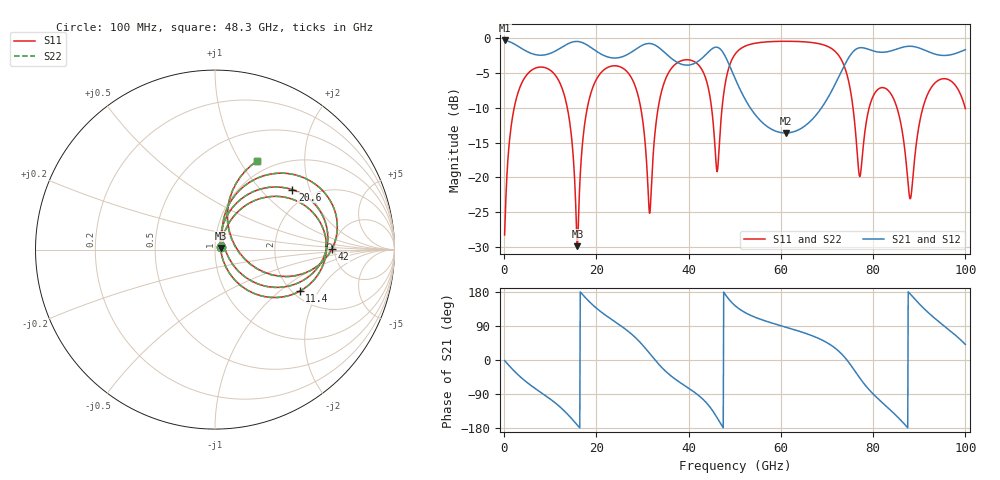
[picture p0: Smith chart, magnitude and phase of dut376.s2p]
! Touchstone file exported from HFSS 2026.1.0
!  File:  C:/ffzhzh/LocalFiles/Ansys_Project_Files/temp_train_TSV_RDL_376_1783714571_45496.aedt
!  Generated:  04:27:12 AM Jul 11, 2026
!  Design:  TSV_RDL
!  Project:  temp_train_TSV_RDL_376_1783714571_45496
! Variables:
!  h_bsmrdl = 3.07um
!  h_ox = 20um
!  h_rdl = 5um
!  h_sub = 61.48um
!  h_tmrdl = 2.36um
!  h_tsv = 61.48um
!  h_via = 3um
!  l_bsmrdl = 197.47um
!  l_sub = 3582.94um
!  l_tmrdl = 624.81um
!  m_sub = 200um
!  pitch = 48.48um
!  r_tsv = 11.68um
!  s_tmrdl = 10um
!  w_bsmrdl = 18.52um
!  w_sub = 500um
!  w_tmrdl = 11.91um
!  x_tsv_center1 = 630.765um
!  x_tsv_center2 = 846.755um
!  x_tsv_center3 = 1483.475um
!  x_tsv_center4 = 1699.465um
!  x_tsv_center5 = 2336.185um
!  x_tsv_center6 = 2552.175um
# GHz S MA R 50.000000
! Terminal data exported
! Port[1] = TM_RDL1_1_T1
! Port[2] = TM_RDL5_1_T1
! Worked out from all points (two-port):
!   1000 points, 100 MHz to 100 GHz, reference 50 ohm
!   highest |S21| = -0.31 dB at 100 MHz (marker M1); lowest = -13.6 dB at 61 GHz (marker M2)
!   |S21| within 3 dB of the highest: start of sweep to 37.16 GHz; 74.24 GHz to end of sweep (the widest 2 of 3)
!   lowest |S11| = -29.9 dB at 15.9 GHz (marker M3), VSWR 1.07, Z = 53.2 + j0.951 ohm
!   |S11| at or under -10 dB: 13.7 GHz to 18.03 GHz (4.331 GHz wide, 27.3 % of centre); 29.61 GHz to 33.39 GHz (3.78 GHz wide, 12 % of centre); 85.17 GHz to 90.79 GHz (5.614 GHz wide, 6.38 % of centre) (the widest 3 of 7)
!   |S22| runs from -30.1 to -0.4 dB; largest |S21 - S12| = 7.5e-13
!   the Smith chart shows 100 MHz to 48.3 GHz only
!   S11 on the Smith chart (normalised r, x): 100 MHz: 1.07, +0.03; 11.4 GHz: 2.17, -1.39; 20.6 GHz: 1.61, +1.53; 42 GHz: 4.72, +0.03; 48.3 GHz: 0.85, +1.19
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0.1  0.03862 24.0  0.965 -1.4  0.965 -1.4  0.03862 24.0
! Gamma 0 0 0 0
! Port Impedance 50 0 50 0
3.3  0.4338 43.1  0.8651 -42.2  0.8651 -42.2  0.4338 43.0
11.4  0.5251 -26.3  0.8203 -116.4  0.8203 -116.4  0.5252 -26.3
15.9  0.03207 16.2  0.9491 -172.2  0.9491 -172.2  0.03129 16.2
16.8  0.1486 71.8  0.9356 175.4  0.9356 175.4  0.1483 72.1
20.6  0.5451 37.8  0.7843 130.8  0.7843 130.8  0.545 37.8
28.1  0.4812 -23.9  0.8154 63.2  0.8154 63.2  0.4811 -24.0
31.5  0.05535 8.1  0.9179 18.0  0.9179 18.0  0.05484 8.0
33.4  0.3171 70.1  0.8648 -9.6  0.8648 -9.6  0.317 70.1
42  0.6501 0.1  0.6817 -92.0  0.6817 -92.0  0.6501 0.0
46.1  0.1116 15.4  0.8634 -151.0  0.8634 -151.0  0.1097 15.1
48.3  0.5452 64.6  0.7011 166.9  0.7011 166.9  0.5448 64.8
50.1  0.7714 45.9  0.5116 143.0  0.5116 143.0  0.7711 45.9
61  0.9521 -3.7  0.2087 86.9  0.2087 86.9  0.9521 -3.7
66.7  0.9326 -23.7  0.2595 64.4  0.2595 64.4  0.9325 -23.8
72.5  0.7556 -59.1  0.5243 23.7  0.5243 23.7  0.7554 -59.3
75.7  0.3044 -90.4  0.8046 -22.9  0.8046 -22.9  0.3042 -90.6
77.2  0.1031 -33.7  0.8561 -49.2  0.8561 -49.2  0.1033 -33.7
83.4  0.4175 -35.3  0.8044 -128.1  0.8044 -128.1  0.4174 -35.8
88  0.07031 -10.4  0.8769 174.6  0.8769 174.6  0.06607 -11.0
92.5  0.4376 23.5  0.7882 119.0  0.7882 119.0  0.4371 23.8
100  0.3122 -37.8  0.8283 41.1  0.8283 41.1  0.3119 -38.1
